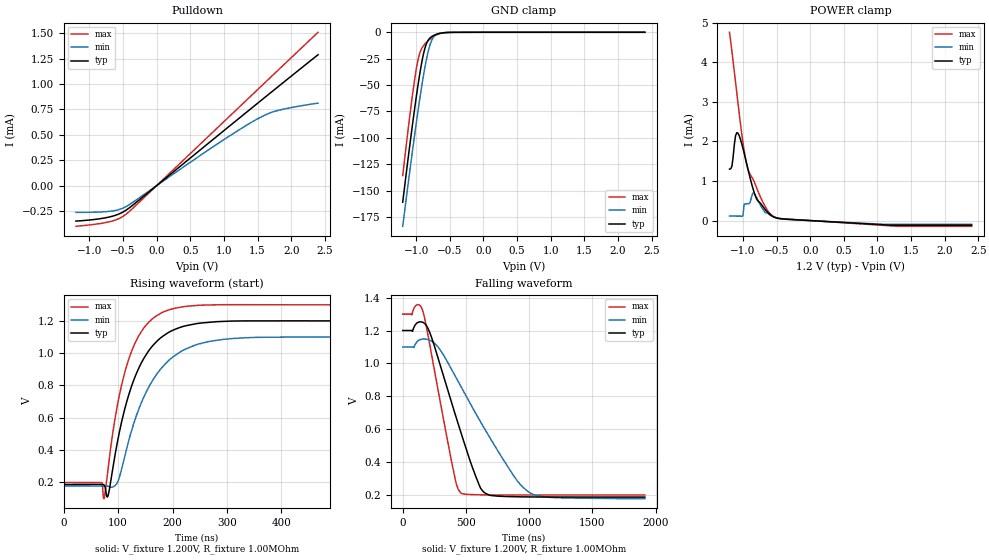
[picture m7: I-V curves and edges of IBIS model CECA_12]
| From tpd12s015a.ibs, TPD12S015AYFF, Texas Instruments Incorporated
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[Model]   CECA_12
Model_type   I/O_open_sink
Vinl = 800.000mV
Vinh = 2.000V
Vmeas = 1.500V
Cref = 15pF
Vref = 0V
Rref = 1000000
|   typ   min   max
|3-state
C_comp   1.2365pF   1.2156pF   1.2811pF
|pulldown
|C_comp   1.2367pF   1.2156pF   1.2806pF
[Voltage Range]   1.200V   1.10V   1.30V
|Junction temperature
[Temperature Range]   40.0   100.0   -40.0
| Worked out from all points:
|   slope of the pulldown table from 0 to 0.18 V, typ, clamps not added: 1.84 kohm
|   GND clamp passes 1 mA (typ) near -0.64 V on its own axis
|   POWER clamp passes 1 mA (typ) near -0.88 V on its own axis
|   falling waveform, V_fixture 1.200V, R_fixture 1.00MOhm: 20-80 % time 247ns typ, 419ns min, 160ns max; typ from 1.2 V to 0.185 V
|   rising waveform, V_fixture 1.200V, R_fixture 1.00MOhm: 20-80 % time 57.3ns typ, 69.6ns min, 47ns max; typ from 0.185 V to 1.2 V
|ambient temperature   25   85   -40|
[Pulldown]
|   Voltage   I(typ)   I(min)   I(max)
-1.2V     -349uA     -263uA     -400.3uA
-910.6mV  -331.8uA   -261.2uA   -379.7uA
-693.5mV  -307uA     -252.1uA   -353.9uA
-548.7mV  -275.6uA   -233.2uA   -320.6uA
-440.2mV  -234.7uA   -200.8uA   -273.3uA
898.5mV   486.5uA    408uA      565.7uA
1.26V     681.2uA    563uA      793.3uA
1.532V    826.8uA    668.3uA    963.8uA
1.676V    904.2uA    713uA      1.055mA
1.821V    981.4uA    742.6uA    1.146mA
2.4V      1.288mA    812.1uA    1.509mA
[GND Clamp]
|   Voltage   I(typ)   I(min)   I(max)
-1.2V     -160.9mA   -183.7mA   -135.7mA
-1.128V   -123.5mA   -147.5mA   -96.24mA
-1.055V   -87.61mA   -112.4mA   -59.51mA
-1.001V   -62.34mA   -87.12mA   -35.82mA
-964.8mV  -46.72mA   -70.98mA   -23.96mA
-910.6mV  -26.39mA   -48.32mA   -14.55mA
-856.3mV  -12.33mA   -28.52mA   -10.14mA
-820.1mV  -7.344mA   -17.81mA   -7.859mA
-783.9mV  -4.748mA   -9.908mA   -5.874mA
-711.6mV  -2.215mA   -2.556mA   -2.812mA
-476.4mV  -100.5uA   -89.62uA   -87.76uA
2.4V      0A         0A         0A
[POWER Clamp]
|   Voltage   I(typ)   I(min)   I(max)
-1.2V     1.301mA    114.1uA    4.759mA
-1.164V   1.376mA    113.7uA    4.266mA
-1.11V    2.148mA    112.9uA    3.485mA
-1.091V   2.222mA    112.6uA    3.222mA
-1.001V   1.832mA    112uA      1.979mA
-982.9mV  1.709mA    411.5uA    1.769mA
-946.7mV  1.452mA    423.1uA    1.426mA
-856.3mV  837.5uA    689.2uA    1.064mA
-802mV    565.3uA    599.6uA    849.4uA
-675.4mV  290.3uA    215uA      371.3uA
-566.8mV  117.9uA    106uA      127.7uA
2.4V      -117.9uA   -94.86uA   -144.7uA
[Ramp]
R_load = 1.00MOhm
|   typ   min   max
dV/dt_r   609.156mV/57.330ns  554.964mV/69.604ns  661.696mV/46.978ns
dV/dt_f   609.156mV/247.418ns 554.964mV/419.328ns 661.696mV/160.053ns
[Falling Waveform]
V_fixture = 1.200V
V_fixture_min = 1.100V
V_fixture_max = 1.300V
R_fixture = 1.00MOhm
|   Time   V(typ)   V(min)   V(max)
0s        1.2V       1.1V       1.3V
72ns      1.2V       1.1V       1.295V
118ns     1.248V     1.135V     1.357V
158ns     1.25V      1.148V     1.32V
223ns     1.169V     1.138V     1.075V
417ns     683.6mV    918.7mV    285.3mV
462ns     573.4mV    854.7mV    208.4mV
640ns     215.9mV    610.5mV    198.3mV
1.004us   185.7mV    211.7mV    197.2mV
1.914us   184.7mV    175mV      197.2mV
[Rising Waveform]
V_fixture = 1.200V
V_fixture_min = 1.100V
V_fixture_max = 1.300V
R_fixture = 1.00MOhm
|   Time   V(typ)   V(min)   V(max)
0s        184.7mV    175mV      197.2mV
70ns      184.7mV    175.1mV    196.5mV
74ns      182.1mV    175mV      96.62mV
82ns      123.2mV    173.1mV    302mV
100ns     473.1mV    208.2mV    702.3mV
125ns     798.8mV    523.3mV    1.015V
163ns     1.044V     829mV      1.214V
216ns     1.162V     1.011V     1.286V
380ns     1.201V     1.1V       1.3V
1.914us   1.2V       1.1V       1.3V
